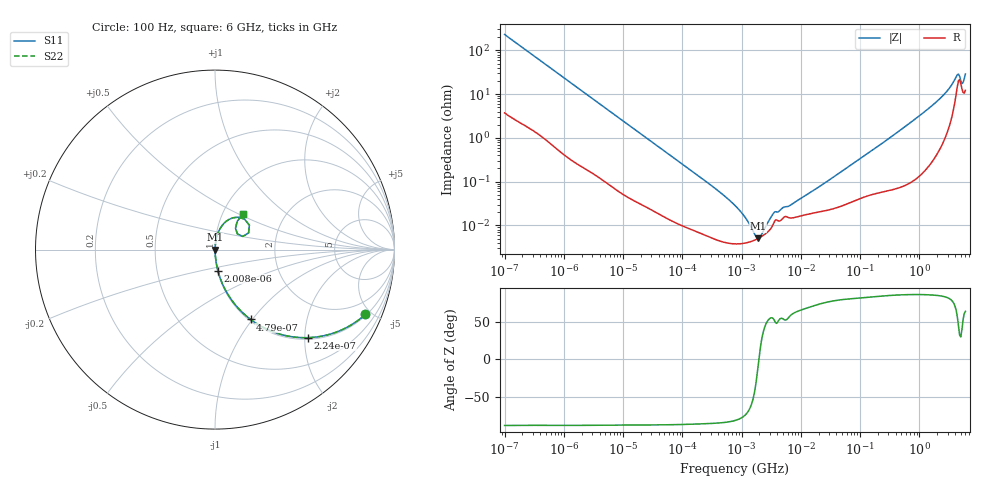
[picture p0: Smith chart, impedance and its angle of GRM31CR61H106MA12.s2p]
!Murata Part Number: GRM31CR61H106MA12
!These Parameters are Measured in Series Mode Connection
!Data Generated on Mar 30, 2021
!  o--ll--o
!Port1  Port2
!  o------o
!Operation Temp=25[degC], DC Bias Voltage=0[V]
!Freq. Start=100[Hz] Stop=6[GHz] 401[Steps]
# Hz S RI R 50
!Freq.(Hz) S11(Real) S11(Imag) S21(Real) S21(Imag) S12(Real) S12(Imag) S22(Real) S22(Imag)
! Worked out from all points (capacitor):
!   401 points, 100 Hz to 6 GHz, reference 50 ohm
!   read as one part in series: C = 6.88 uF near 109 Hz
!   lowest |Z| = 5.09 mohm at 1.897 MHz (marker M1)
!   series resonance near 1.959 MHz, so ESL is about 960 pH
!   S11 on the Smith chart (normalised r, x): 100 Hz: 1.07, -4.61; 224 Hz: 1.04, -2.07; 479 Hz: 1.02, -0.98; 2.008 kHz: 1.00, -0.24; 6 GHz: 1.24, +0.52
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100  0.8376 -0.3608  0.1624 0.3608  0.1624 0.3608  0.8376 -0.3608
224  0.5181 -0.4907  0.4819 0.4907  0.4819 0.4907  0.5181 -0.4907
479  0.1981 -0.3892  0.8019 0.3892  0.8019 0.3892  0.1981 -0.3892
897  0.0688 -0.2444  0.9312 0.2444  0.9312 0.2444  0.0688 -0.2444
2008  0.016 -0.1165  0.984 0.1165  0.984 0.1165  0.016 -0.1165
6433  0.00217 -0.0375  0.9978 0.0375  0.9978 0.0375  0.00217 -0.0375
40335  0.000219 -0.00614  0.9998 0.00614  0.9998 0.00614  0.000219 -0.00614
330837  5.04e-05 -0.000758  0.9999 0.000758  0.9999 0.000758  5.04e-05 -0.000758
774597  3.79e-05 -0.000283  1 0.000283  1 0.000283  3.79e-05 -0.000283
1386327  4.21e-05 -9.29e-05  1 9.29e-05  1 9.29e-05  4.21e-05 -9.29e-05
1896632  5.02e-05 -8.4e-06  0.9999 8.4e-06  0.9999 8.4e-06  5.02e-05 -8.4e-06
2481164  6.29e-05 6.21e-05  0.9999 -6.21e-05  0.9999 -6.21e-05  6.29e-05 6.21e-05
3549919  0.000118 0.000159  0.9999 -0.000159  0.9999 -0.000159  0.000118 0.000159
6644369  0.000148 0.000247  0.9999 -0.000247  0.9999 -0.000247  0.000148 0.000247
1.555665e7  0.000189 0.000573  0.9998 -0.000573  0.9998 -0.000573  0.000189 0.000573
3.124326e8  0.000725 0.00982  0.9993 -0.00982  0.9993 -0.00982  0.000725 0.00982
1.873145e9  0.00766 0.0628  0.9923 -0.0628  0.9923 -0.0628  0.00766 0.0628
3.205649e9  0.0348 0.1272  0.9652 -0.1272  0.9652 -0.1272  0.0348 0.1272
4.193612e9  0.1288 0.1806  0.8712 -0.1806  0.8712 -0.1806  0.1288 0.1806
4.586474e9  0.1916 0.1363  0.8084 -0.1363  0.8084 -0.1363  0.1916 0.1363
5.245841e9  0.125 0.0872  0.875 -0.0872  0.875 -0.0872  0.125 0.0872
6e9  0.1539 0.1963  0.8461 -0.1963  0.8461 -0.1963  0.1539 0.1963
